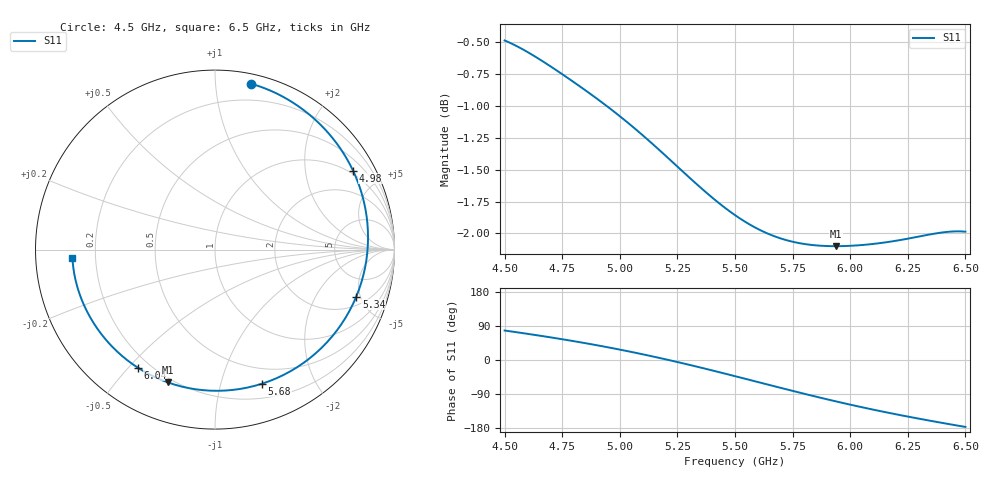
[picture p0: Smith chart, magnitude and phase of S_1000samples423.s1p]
! TOUCHSTONE file generated by CST MICROWAVE STUDIO
! Date and time: Fri Oct 28 03:13:46 2022
! Project name: L.cst
! Parameters = {Di=1.27; Epsilon_r=1.56; InnerDiameter=1.27; Length=2; Lf=10; Lg=60; OuterConductorThickness=0.2921; OuterDiameter=3.6; Wf=3; Wp=41.2; de=1.5; df=6.8; g=0.8; gx=3.24155; gy=1.29365; h=2.34; hf=1.524; px=9.76507; py=9.0558; w=9.7; wx=6.52352; wy=7.76215}
! Header version: 2018
! Port assignment regex: !\s*Touchstone port\s*([0-9]+)\s*=\s*(CST MWS port|CST DS port)\s*([0-9]+|Zmin|Zmax)\s*\(\"(.*)\"\)(\s*mode\s*([0-9]+))?.*
! Touchstone port assignment:
! Touchstone port 1 = CST MWS port 1 ("")
# GHz S DB R 50
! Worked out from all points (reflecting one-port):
!   101 points, 4.5 GHz to 6.5 GHz, reference 50 ohm
!   lowest |S11| = -2.1 dB at 5.94 GHz (marker M1), VSWR 8.31, Z = 8.96 - j34.6 ohm
!   phase of S11 starts at 78 deg and turns -254 deg over the sweep
!   S11 on the Smith chart (normalised r, x): 4.5 GHz: 0.07, +1.24; 4.98 GHz: 0.87, +3.56; 5.34 GHz: 2.74, -4.60; 5.68 GHz: 0.34, -1.35; 6.04 GHz: 0.15, -0.53; 6.5 GHz: 0.11, -0.03
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4.5  -0.48 77.8
4.56  -0.54 72.6
4.64  -0.62 65.3
4.76  -0.76 53.8
4.86  -0.89 43.4
4.98  -1.05 29.8
5  -1.08 27.4
5.08  -1.20 17.5
5.14  -1.29 9.7
5.2  -1.39 1.6
5.26  -1.49 -6.8
5.34  -1.62 -18.4
5.42  -1.75 -30.4
5.5  -1.86 -42.7
5.6  -1.97 -58.2
5.68  -2.03 -70.7
5.76  -2.07 -83.0
5.84  -2.09 -95.0
5.94  -2.10 -109.5
6  -2.10 -117.8
6.04  -2.09 -123.2
6.14  -2.07 -136.0
6.2  -2.06 -143.4
6.26  -2.04 -150.4
6.32  -2.02 -157.3
6.38  -2.00 -163.9
6.44  -1.99 -170.3
6.5  -1.99 -176.6
